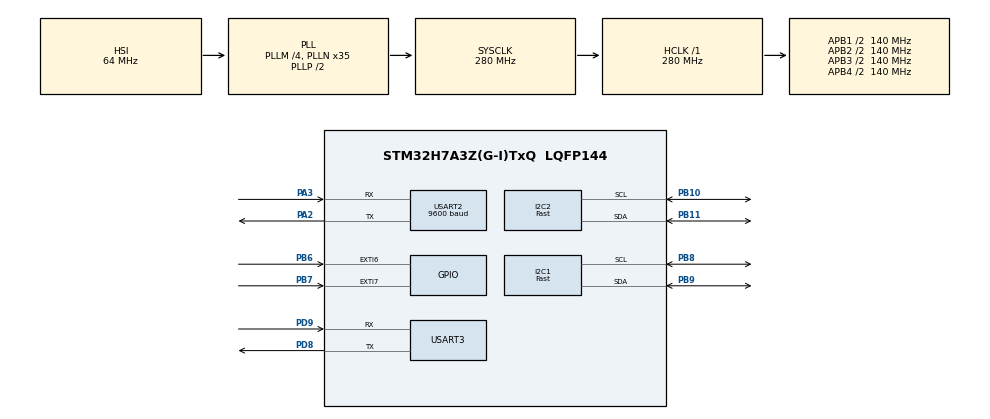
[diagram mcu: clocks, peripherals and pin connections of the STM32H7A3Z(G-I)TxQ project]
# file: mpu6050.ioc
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CORTEX_M7.default_mode_Activation=1
I2C1.I2C_Fall_Time=2
I2C1.I2C_Rise_Time=2
I2C1.I2C_Speed_Mode=I2C_Fast
I2C1.Timing=0x00E04AFF
I2C2.I2C_Fall_Time=2
I2C2.I2C_Rise_Time=2
I2C2.I2C_Speed_Mode=I2C_Fast
I2C2.Timing=0x00E04AFF
Mcu.Family=STM32H7
Mcu.Name=STM32H7A3Z(G-I)TxQ
Mcu.Package=LQFP144
NUCLEO-H7A3ZI-Q.Bsp_Common_DEMO=true
NVIC.EXTI9_5_IRQn=true\:0\:0\:false\:false\:true\:true\:true\:true
NVIC.PriorityGroup=NVIC_PRIORITYGROUP_4
NVIC.USART2_IRQn=true\:0\:0\:false\:false\:true\:true\:true\:true
PA2.Mode=Asynchronous
PA2.Signal=USART2_TX
PA3.Mode=Asynchronous
PA3.Signal=USART2_RX
PB10.Mode=I2C
PB10.Signal=I2C2_SCL
PB11.Mode=I2C
PB11.Signal=I2C2_SDA
PB6.Signal=GPXTI6
PB7.GPIO_PuPd=GPIO_PULLDOWN
PB7.Signal=GPXTI7
PB8.GPIO_Pu=GPIO_PULLUP
PB8.GPIO_Speed=GPIO_SPEED_FREQ_HIGH
PB8.Mode=I2C
PB8.Signal=I2C1_SCL
PB9.GPIO_Pu=GPIO_PULLUP
PB9.GPIO_Speed=GPIO_SPEED_FREQ_HIGH
PB9.Mode=I2C
PB9.Signal=I2C1_SDA
PD8.Mode=Asynchronous
PD8.Signal=USART3_TX
PD9.Mode=Asynchronous
PD9.Signal=USART3_RX
ProjectManager.HeapSize=0x200
ProjectManager.StackSize=0x400
ProjectManager.TargetToolchain=CMake
RCC.ADCFreq_Value=129000000
RCC.APB1Freq_Value=140000000
RCC.APB2Freq_Value=140000000
RCC.APB3Freq_Value=140000000
RCC.APB4Freq_Value=140000000
RCC.CDPPRE=RCC_APB3_DIV2
RCC.CDPPRE1=RCC_APB1_DIV2
RCC.CDPPRE2=RCC_APB2_DIV2
RCC.CortexFreq_Value=280000000
RCC.DIVM1=4
RCC.DIVM3=1
RCC.DIVN1=35
RCC.DIVN3=24
RCC.DIVQ1=4
RCC.HCLKFreq_Value=280000000
RCC.HSE_VALUE=8000000
RCC.PLLFRACN=0
RCC.PWR_Regulator_Voltage_Scale=PWR_REGULATOR_VOLTAGE_SCALE0
RCC.SRDPPRE=RCC_APB4_DIV2
RCC.SYSCLKFreq_VALUE=280000000
RCC.SYSCLKSource=RCC_SYSCLKSOURCE_PLLCLK
RCC.SupplySource=PWR_DIRECT_SMPS_SUPPLY
RCC.USBCLockSelection=RCC_USBCLKSOURCE_HSI48
RCC.USBFreq_Value=48000000
USART2.BaudRate=9600
USART2.VirtualMode-Asynchronous=VM_ASYNC
USART3.VirtualMode-Asynchronous=VM_ASYNC
VP_MEMORYMAP_VS_MEMORYMAP.Mode=CurAppReg
VP_NUCLEO-H7A3ZI-Q_VS_BSP_COMMON.Mode=COMMON
board=NUCLEO-H7A3ZI-Q

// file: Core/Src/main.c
/* USER CODE BEGIN Header */
/**
 ******************************************************************************
 * @file           : main.c
 * @brief          : Main program body
 ******************************************************************************
 * @attention
 *
 * Copyright (c) 2025 STMicroelectronics.
 * All rights reserved.
 *
 * This software is licensed under terms that can be found in the LICENSE file
 * in the root directory of this software component.
 * If no LICENSE file comes with this software, it is provided AS-IS.
 *
 ******************************************************************************
 */
/* USER CODE END Header */
#include "main.h"

/* USER CODE BEGIN Includes */
#include "mpu6050.h"
#include "complementary_filter.h"
#include "nmea_parser.h"
#include "hmc5883l.h"
#include <stdio.h>
#include <stdlib.h>
#include <stm32h7xx_hal_uart.h>
#include <string.h>

/* USER CODE END Includes */

/* USER CODE BEGIN PD */
#define GPS_BUFFER_SIZE 256
/* USER CODE END PD */

__IO uint32_t BspButtonState = BUTTON_RELEASED;

I2C_HandleTypeDef hi2c1;
I2C_HandleTypeDef hi2c2;

UART_HandleTypeDef huart2;
UART_HandleTypeDef huart3;

/* USER CODE BEGIN PV */

/* GPS Variables */
uint8_t gps_rx_byte;
uint8_t gps_buffer[GPS_BUFFER_SIZE];
uint16_t gps_index = 0;
NMEA_GPRMC_t rmc;
NMEA_GGA_t gga;

/* MPU6050 Variables */
bool is_calibartion_finished = false;
volatile uint8_t mpu_data_ready = 0;
uint16_t samples = 2000;
MPU6050_t mpu6050 = {0};
INT_ENABLE_t enabled_interrputs = {0};
INT_CONFIG_t interrupt_config = {0};

/* HMC5883L Variables */
volatile uint8_t compass_data_ready = 0;
HMC5883L_t compass = {0};
/* USER CODE END PV */

void SystemClock_Config(void);
static void MPU_Config(void);
static void MX_GPIO_Init(void);
static void MX_I2C1_Init(void);
static void MX_USART3_UART_Init(void);
static void MX_USART2_UART_Init(void);
static void MX_I2C2_Init(void);

int main(void)
{

  /* MPU Configuration--------------------------------------------------------*/
  MPU_Config();

  /* MCU Configuration--------------------------------------------------------*/

  /* Reset of all peripherals, Initializes the Flash interface and the Systick. */
  HAL_Init();

  /* USER CODE BEGIN Init */
  enabled_interrputs.data_rdy = true;
  interrupt_config.int_level = false;
  interrupt_config.latch_int_en = true;
  interrupt_config.int_rd_clear = true;
  /* USER CODE END Init */

  /* Configure the system clock */
  SystemClock_Config();

  /* Initialize all configured peripherals */
  MX_GPIO_Init();
  MX_I2C1_Init();
  MX_I2C2_Init();
  MX_USART3_UART_Init();
  MX_USART2_UART_Init();
  /* USER CODE BEGIN 2 */
  HAL_UART_Receive_IT(&huart2, &gps_rx_byte, 1);
	if (MPU6050_Init(&mpu6050, &hi2c1, MPU6050_ADDR_AD0_LOW, &enabled_interrputs, &interrupt_config, &mpu_data_ready) == HAL_OK) {
  	printf("MPU6050 successfully initialize\n");
  } else {
  	printf("MPU6050 couldn't initialize\n");
  }

  if(HMC5883L_Init(&compass, &hi2c2, &compass_data_ready) == HAL_OK) {
    printf("HMC5883L successfully initialize\n");
  } else {
  	printf("HMC5883L couldn't initialize\n");
  }

  /* USER CODE END 2 */

  /* Infinite loop */
  /* USER CODE BEGIN WHILE */
	while (1)
	{
		if (mpu_data_ready) {
			mpu_data_ready = 0;
			if(MPU6050_ReadAllData(&mpu6050) == HAL_OK) {
				// Calculate_Euler_Angles(&mpu6050, HAL_GetTick(), &compass);
        Calculate_AHRS(&mpu6050, &compass, HAL_GetTick());
        MPU6050_ClearInterrupt(&mpu6050);
			}
		}

    if (compass_data_ready) {
      compass_data_ready = 0;
      if (HMC5883L_ReadRaw(&compass) == HAL_OK) {
        // HMC5883L_CalculateHeading(&compass);
        Calculate_AHRS(&mpu6050, &compass, HAL_GetTick());
      }
    }
    /* USER CODE END WHILE */

  }
}

void SystemClock_Config(void)
{
  RCC_OscInitTypeDef RCC_OscInitStruct = {0};
  RCC_ClkInitTypeDef RCC_ClkInitStruct = {0};

  /*AXI clock gating */
  RCC->CKGAENR = 0xE003FFFF;

  /** Supply configuration update enable
  */
  HAL_PWREx_ConfigSupply(PWR_DIRECT_SMPS_SUPPLY);

  /** Configure the main internal regulator output voltage
  */
  __HAL_PWR_VOLTAGESCALING_CONFIG(PWR_REGULATOR_VOLTAGE_SCALE0);

  while(!__HAL_PWR_GET_FLAG(PWR_FLAG_VOSRDY)) {}

  /** Initializes the RCC Oscillators according to the specified parameters
  * in the RCC_OscInitTypeDef structure.
  */
  RCC_OscInitStruct.OscillatorType = RCC_OSCILLATORTYPE_HSI;
  RCC_OscInitStruct.HSIState = RCC_HSI_DIV1;
  RCC_OscInitStruct.HSICalibrationValue = 64;
  RCC_OscInitStruct.PLL.PLLState = RCC_PLL_ON;
  RCC_OscInitStruct.PLL.PLLSource = RCC_PLLSOURCE_HSI;
  RCC_OscInitStruct.PLL.PLLM = 4;
  RCC_OscInitStruct.PLL.PLLN = 35;
  RCC_OscInitStruct.PLL.PLLP = 2;
  RCC_OscInitStruct.PLL.PLLQ = 4;
  RCC_OscInitStruct.PLL.PLLR = 2;
  RCC_OscInitStruct.PLL.PLLRGE = RCC_PLL1VCIRANGE_3;
  RCC_OscInitStruct.PLL.PLLVCOSEL = RCC_PLL1VCOWIDE;
  RCC_OscInitStruct.PLL.PLLFRACN = 0;
  if (HAL_RCC_OscConfig(&RCC_OscInitStruct) != HAL_OK)
  {
    Error_Handler();
  }

  /** Initializes the CPU, AHB and APB buses clocks
  */
  RCC_ClkInitStruct.ClockType = RCC_CLOCKTYPE_HCLK|RCC_CLOCKTYPE_SYSCLK
                              |RCC_CLOCKTYPE_PCLK1|RCC_CLOCKTYPE_PCLK2
                              |RCC_CLOCKTYPE_D3PCLK1|RCC_CLOCKTYPE_D1PCLK1;
  RCC_ClkInitStruct.SYSCLKSource = RCC_SYSCLKSOURCE_PLLCLK;
  RCC_ClkInitStruct.SYSCLKDivider = RCC_SYSCLK_DIV1;
  RCC_ClkInitStruct.AHBCLKDivider = RCC_HCLK_DIV1;
  RCC_ClkInitStruct.APB3CLKDivider = RCC_APB3_DIV2;
  RCC_ClkInitStruct.APB1CLKDivider = RCC_APB1_DIV2;
  RCC_ClkInitStruct.APB2CLKDivider = RCC_APB2_DIV2;
  RCC_ClkInitStruct.APB4CLKDivider = RCC_APB4_DIV2;

  if (HAL_RCC_ClockConfig(&RCC_ClkInitStruct, FLASH_LATENCY_6) != HAL_OK)
  {
    Error_Handler();
  }
}

static void MX_I2C1_Init(void)
{

  hi2c1.Instance = I2C1;
  hi2c1.Init.Timing = 0x00E04AFF;
  hi2c1.Init.OwnAddress1 = 0;
  hi2c1.Init.AddressingMode = I2C_ADDRESSINGMODE_7BIT;
  hi2c1.Init.DualAddressMode = I2C_DUALADDRESS_DISABLE;
  hi2c1.Init.OwnAddress2 = 0;
  hi2c1.Init.OwnAddress2Masks = I2C_OA2_NOMASK;
  hi2c1.Init.GeneralCallMode = I2C_GENERALCALL_DISABLE;
  hi2c1.Init.NoStretchMode = I2C_NOSTRETCH_DISABLE;
  if (HAL_I2C_Init(&hi2c1) != HAL_OK)
  {
    Error_Handler();
  }

  /** Configure Analogue filter
  */
  if (HAL_I2CEx_ConfigAnalogFilter(&hi2c1, I2C_ANALOGFILTER_ENABLE) != HAL_OK)
  {
    Error_Handler();
  }

  /** Configure Digital filter
  */
  if (HAL_I2CEx_ConfigDigitalFilter(&hi2c1, 0) != HAL_OK)
  {
    Error_Handler();
  }

}

static void MX_I2C2_Init(void)
{

  hi2c2.Instance = I2C2;
  hi2c2.Init.Timing = 0x00E04AFF;
  hi2c2.Init.OwnAddress1 = 0;
  hi2c2.Init.AddressingMode = I2C_ADDRESSINGMODE_7BIT;
  hi2c2.Init.DualAddressMode = I2C_DUALADDRESS_DISABLE;
  hi2c2.Init.OwnAddress2 = 0;
  hi2c2.Init.OwnAddress2Masks = I2C_OA2_NOMASK;
  hi2c2.Init.GeneralCallMode = I2C_GENERALCALL_DISABLE;
  hi2c2.Init.NoStretchMode = I2C_NOSTRETCH_DISABLE;
  if (HAL_I2C_Init(&hi2c2) != HAL_OK)
  {
    Error_Handler();
  }

  /** Configure Analogue filter
  */
  if (HAL_I2CEx_ConfigAnalogFilter(&hi2c2, I2C_ANALOGFILTER_ENABLE) != HAL_OK)
  {
    Error_Handler();
  }

  /** Configure Digital filter
  */
  if (HAL_I2CEx_ConfigDigitalFilter(&hi2c2, 0) != HAL_OK)
  {
    Error_Handler();
  }

}

static void MX_USART2_UART_Init(void)
{

  huart2.Instance = USART2;
  huart2.Init.BaudRate = 9600;
  huart2.Init.WordLength = UART_WORDLENGTH_8B;
  huart2.Init.StopBits = UART_STOPBITS_1;
  huart2.Init.Parity = UART_PARITY_NONE;
  huart2.Init.Mode = UART_MODE_TX_RX;
  huart2.Init.HwFlowCtl = UART_HWCONTROL_NONE;
  huart2.Init.OverSampling = UART_OVERSAMPLING_16;
  huart2.Init.OneBitSampling = UART_ONE_BIT_SAMPLE_DISABLE;
  huart2.Init.ClockPrescaler = UART_PRESCALER_DIV1;
  huart2.AdvancedInit.AdvFeatureInit = UART_ADVFEATURE_NO_INIT;
  if (HAL_UART_Init(&huart2) != HAL_OK)
  {
    Error_Handler();
  }
  if (HAL_UARTEx_SetTxFifoThreshold(&huart2, UART_TXFIFO_THRESHOLD_1_8) != HAL_OK)
  {
    Error_Handler();
  }
  if (HAL_UARTEx_SetRxFifoThreshold(&huart2, UART_RXFIFO_THRESHOLD_1_8) != HAL_OK)
  {
    Error_Handler();
  }
  if (HAL_UARTEx_DisableFifoMode(&huart2) != HAL_OK)
  {
    Error_Handler();
  }

}

static void MX_USART3_UART_Init(void)
{

  huart3.Instance = USART3;
  huart3.Init.BaudRate = 115200;
  huart3.Init.WordLength = UART_WORDLENGTH_8B;
  huart3.Init.StopBits = UART_STOPBITS_1;
  huart3.Init.Parity = UART_PARITY_NONE;
  huart3.Init.Mode = UART_MODE_TX_RX;
  huart3.Init.HwFlowCtl = UART_HWCONTROL_NONE;
  huart3.Init.OverSampling = UART_OVERSAMPLING_16;
  huart3.Init.OneBitSampling = UART_ONE_BIT_SAMPLE_DISABLE;
  huart3.Init.ClockPrescaler = UART_PRESCALER_DIV1;
  huart3.AdvancedInit.AdvFeatureInit = UART_ADVFEATURE_NO_INIT;
  if (HAL_UART_Init(&huart3) != HAL_OK)
  {
    Error_Handler();
  }
  if (HAL_UARTEx_SetTxFifoThreshold(&huart3, UART_TXFIFO_THRESHOLD_1_8) != HAL_OK)
  {
    Error_Handler();
  }
  if (HAL_UARTEx_SetRxFifoThreshold(&huart3, UART_RXFIFO_THRESHOLD_1_8) != HAL_OK)
  {
    Error_Handler();
  }
  if (HAL_UARTEx_DisableFifoMode(&huart3) != HAL_OK)
  {
    Error_Handler();
  }

}

static void MX_GPIO_Init(void)
{
  GPIO_InitTypeDef GPIO_InitStruct = {0};

  /* GPIO Ports Clock Enable */
  __HAL_RCC_GPIOA_CLK_ENABLE();
  __HAL_RCC_GPIOB_CLK_ENABLE();
  __HAL_RCC_GPIOD_CLK_ENABLE();

  /*Configure GPIO pin : PB6 */
  GPIO_InitStruct.Pin = GPIO_PIN_6;
  GPIO_InitStruct.Mode = GPIO_MODE_IT_RISING;
  GPIO_InitStruct.Pull = GPIO_NOPULL;
  HAL_GPIO_Init(GPIOB, &GPIO_InitStruct);

  /*Configure GPIO pin : PB7 */
  GPIO_InitStruct.Pin = GPIO_PIN_7;
  GPIO_InitStruct.Mode = GPIO_MODE_IT_RISING;
  GPIO_InitStruct.Pull = GPIO_PULLDOWN;
  HAL_GPIO_Init(GPIOB, &GPIO_InitStruct);

  /* EXTI interrupt init*/
  HAL_NVIC_SetPriority(EXTI9_5_IRQn, 0, 0);
  HAL_NVIC_EnableIRQ(EXTI9_5_IRQn);

}

/* USER CODE BEGIN 4 */

int _write(int file, char *ptr, int len){
	HAL_UART_Transmit(&huart3, (uint8_t*)ptr, len, 1000);
  return len;
}

void HAL_GPIO_EXTI_Callback(uint16_t GPIO_Pin) {
  if (GPIO_Pin == GPIO_PIN_7) {
    mpu_data_ready = 1;
  } else if (GPIO_Pin == GPIO_PIN_6) {
    compass_data_ready = 1;
  }
}

void HAL_UART_RxCpltCallback(UART_HandleTypeDef *huart) {
    if (huart->Instance == USART2) {
        if (gps_index < GPS_BUFFER_SIZE - 1) {
            gps_buffer[gps_index++] = gps_rx_byte;
        }

        if (gps_rx_byte == '\n') {
            // Null-terminate the string
            if (gps_index > 1 && gps_buffer[gps_index-2] == '\r') {
                gps_buffer[gps_index-2] = '\0';
            } else {
                gps_buffer[gps_index-1] = '\0';
            }

            if (strstr((char *)gps_buffer, "GPRMC")) {
                if (parse_gprmc((char *)gps_buffer, &rmc)) {
                    printf("GPRMC Parsing Successful:\n");
                    printf("Time: %.2f (UTC)\n", rmc.time_utc);
                    printf("Status: %c\n", rmc.status);
                    printf("Position: %.5f %c, %.5f %c (Decimal Degrees)\n",
                          rmc.latitude, rmc.lat_hemi,
                          rmc.longitude, rmc.lon_hemi);
                    printf("Speed: %.3f (Knots)\n", rmc.speed_knots);
                } else {
                    printf("GPRMC Parsing Failed.\n");
                }
            } else if (strstr((char *)gps_buffer, "PGGA")) {
                if (parse_gpgga((char *)gps_buffer, &gga)) {
                    printf("GPGGA Parsing Successful:\n");
                    printf("Time: %.2f (UTC)\n", gga.time_utc);
                    printf("Position: %.5f %c, %.5f %c (Decimal Degrees)\n",
                          gga.latitude, gga.lat_hemi,
                          gga.longitude, gga.lon_hemi);
                    printf("Satellites: %d\n", gga.num_satellites);
                    printf("Altitude: %.1f %c (MSL)\n", gga.altitude_msl, gga.alt_unit);
                    printf("HDOP: %.2f\n", gga.hdop);
                } else {
                    printf("GPGGA Parsing Failed.\n");
                }
            }

            gps_index = 0;
        }

        HAL_UART_Receive_IT(&huart2, &gps_rx_byte, 1);
    }
}

/* USER CODE END 4 */

 /* MPU Configuration */

void MPU_Config(void)
{
  MPU_Region_InitTypeDef MPU_InitStruct = {0};

  /* Disables the MPU */
  HAL_MPU_Disable();

  /** Initializes and configures the Region and the memory to be protected
  */
  MPU_InitStruct.Enable = MPU_REGION_ENABLE;
  MPU_InitStruct.Number = MPU_REGION_NUMBER0;
  MPU_InitStruct.BaseAddress = 0x0;
  MPU_InitStruct.Size = MPU_REGION_SIZE_4GB;
  MPU_InitStruct.SubRegionDisable = 0x87;
  MPU_InitStruct.TypeExtField = MPU_TEX_LEVEL0;
  MPU_InitStruct.AccessPermission = MPU_REGION_NO_ACCESS;
  MPU_InitStruct.DisableExec = MPU_INSTRUCTION_ACCESS_DISABLE;
  MPU_InitStruct.IsShareable = MPU_ACCESS_SHAREABLE;
  MPU_InitStruct.IsCacheable = MPU_ACCESS_NOT_CACHEABLE;
  MPU_InitStruct.IsBufferable = MPU_ACCESS_NOT_BUFFERABLE;

  HAL_MPU_ConfigRegion(&MPU_InitStruct);
  /* Enables the MPU */
  HAL_MPU_Enable(MPU_PRIVILEGED_DEFAULT);

}

void Error_Handler(void)
{
	__disable_irq();
	while (1)
	{
	}
}
